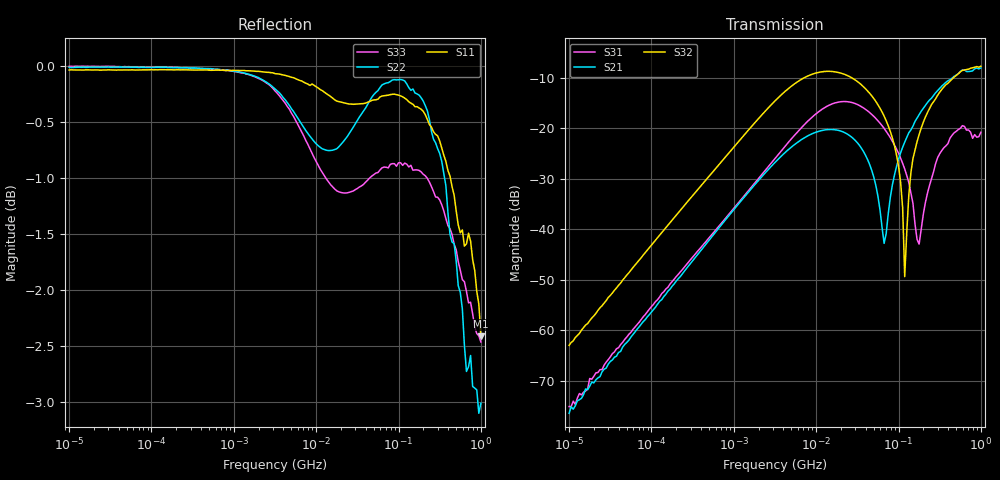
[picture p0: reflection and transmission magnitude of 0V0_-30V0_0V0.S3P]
!Keysight Technologies,E5080A,MY55100144,A.11.70.03
!Date: Monday, November 13, 2017 17:21:38
!Correction: S11(Full 3 Port(1,2,3))
!S12(Full 3 Port(1,2,3))
!S13(Full 3 Port(1,2,3))
!S21(Full 3 Port(1,2,3))
!S22(Full 3 Port(1,2,3))
!S23(Full 3 Port(1,2,3))
!S31(Full 3 Port(1,2,3))
!S32(Full 3 Port(1,2,3))
!S33(Full 3 Port(1,2,3))
!S3P File: Measurements: <S11,S12,S13>,
!<S21,S22,S23>,
!<S31,S32,S33>:Log Frequency Sweep
# Hz S  RI  R 50
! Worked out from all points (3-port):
!   201 points, 10 kHz to 1 GHz, reference 50 ohm
!   strongest paths, dB at 10 kHz, 177.8 kHz, 3.162 MHz, 56.23 MHz, 1 GHz:
!     S32: -63.0, -38.2, -14.5, -15.3, -7.7
!     S21: -76.4, -51.3, -26.7, -33.4, -8.0
!     S31: -75.1, -50.4, -25.9, -18.5, -20.8
!   lowest |S11| = -2.4 dB at 1 GHz (marker M1), VSWR 7.24, Z = 361 + j13.1 ohm
!   |S11| at or under -10 dB: nowhere
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10000  0.9961 -0.000806  -9.5e-08 0.000138  1.51e-05 0.000166
       1.67e-05 0.00015  0.9989 -0.00346  -1.15e-05 0.000709
       -1.17e-07 0.000176  8.71e-06 0.000711  0.9999 -0.00234
3162278  0.917 -0.3796  0.0213 0.0409  0.0135 0.0488
         0.0212 0.0409  0.6913 -0.6904  0.0972 0.1599
         0.0135 0.0487  0.0974 0.16  0.9349 -0.2765
1.496236e7  0.0518 -0.968  0.0973 0.00678  0.162 0.059
            0.0974 0.00658  -0.5403 -0.7409  0.3664 -0.0261
            0.1621 0.0587  0.3663 -0.0261  0.415 -0.7819
5.011872e7  -0.8517 -0.4557  0.0225 -0.024  0.0839 -0.1014
            0.0224 -0.024  -0.9623 -0.132  0.0942 -0.1736
            0.0838 -0.1014  0.0941 -0.1735  -0.5771 -0.6835
6.683439e7  -0.9313 -0.2715  0.00725 0.00113  0.0424 -0.0907
            0.00719 0.00113  -0.9816 0.0295  0.0361 -0.1276
            0.0423 -0.0907  0.0361 -0.1274  -0.7453 -0.507
1.059254e8  -0.9699 0.0147  0.0106 0.0562  0.0051 -0.0506
            0.0106 0.0563  -0.9381 0.3052  -0.00171 -0.0294
            0.0051 -0.0506  -0.00165 -0.0294  -0.8858 -0.1873
1.188502e8  -0.9637 0.088  0.0182 0.0708  0.00162 -0.0397
            0.0183 0.0708  -0.9089 0.3798  -0.000291 -0.00341
            0.00162 -0.0396  -0.000281 -0.0034  -0.8989 -0.1058
1.995262e8  -0.856 0.4229  0.0957 0.1255  0.0134 0.00421
            0.0959 0.1255  -0.6516 0.7115  0.0642 0.0951
            0.0133 0.00423  0.0641 0.0951  -0.8534 0.2687
5.956621e8  0.1762 0.8263  0.3092 -0.2185  0.0544 -0.0916
            0.3092 -0.2189  0.6233 0.4669  0.3254 -0.1888
            0.0543 -0.0916  0.3255 -0.1884  0.0106 0.8027
1e9  0.7571 0.00774  -0.0932 -0.3867  -0.0566 -0.0719
     -0.0938 -0.3866  0.591 -0.3877  -0.0445 -0.4109
     -0.0566 -0.0719  -0.0444 -0.411  0.6859 0.31
